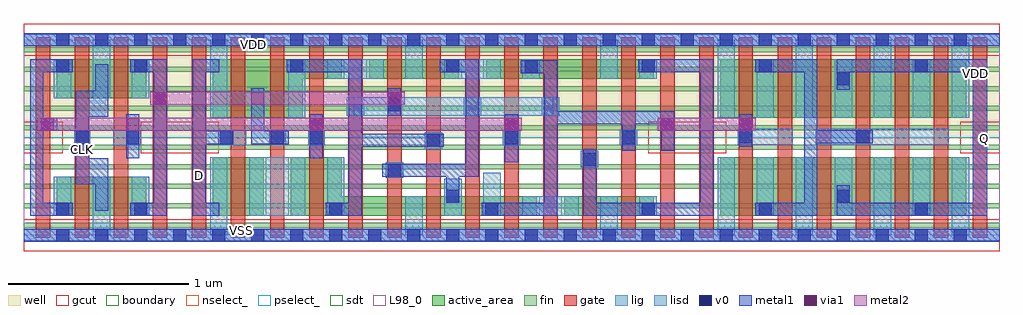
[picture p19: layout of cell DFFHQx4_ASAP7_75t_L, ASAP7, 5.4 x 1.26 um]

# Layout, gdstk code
import gdstk
lib = gdstk.Library(unit=1e-6, precision=2.5e-10)
def R(c, l, rs):  # rectangles x0, y0, x1, y1
    for r in rs: c.add(gdstk.rectangle(r[:2], r[2:], *l))
def A(c, l, x, y, w, h, nx, ny, dx, dy):  # array of equal rectangles
    R(c, l, [(x+i*dx, y+j*dy, x+i*dx+w, y+j*dy+h) for i in range(nx) for j in range(ny)])
def P(c, l, *ps):  # polygons
    for p in ps: c.add(gdstk.Polygon(p, *l))
well = (1, 0)
fin = (2, 0)
gate = (7, 0)
gcut = (10, 0)
active_area = (11, 0)
nselect_ = (12, 0)
pselect_ = (13, 0)
lig = (16, 0)
lisd = (17, 0)
v0 = (18, 0)
metal1 = (19, 0)
metal2 = (20, 0)
via1 = (21, 0)
sdt = (88, 0)
L98_0 = (98, 0)
boundary = (100, 0)

dffhqx4_asap7_75t_l = lib.new_cell('DFFHQx4_ASAP7_75t_L')
R(dffhqx4_asap7_75t_l, well, [(0,0.54,5.4,1.08)])
A(dffhqx4_asap7_75t_l, fin, 0, 0.04, 5.4, 0.028, 1, 10, 0, 0.108)
A(dffhqx4_asap7_75t_l, gate, 0.068, -0.014, 0.08, 1.108, 25, 1, 0.216, 0)
R(dffhqx4_asap7_75t_l, gcut, [(0,-0.088,5.4,0.088), (0,0.452,0.216,0.628), (0.648,0.452,1.08,0.628), (3.456,0.452,3.888,0.628), (5.184,0.452,5.4,0.628), (0,0.992,5.4,1.168)])
R(dffhqx4_asap7_75t_l, active_area, [(0.184,0.108,0.68,0.324), (1.048,0.108,1.328,0.432), (2.992,0.108,3.488,0.216), (3.856,0.108,5.216,0.432), (3.856,0.648,5.216,0.972), (0.184,0.756,0.68,0.972), (1.912,0.864,2.408,0.972), (2.56,0.864,3.488,0.972)])
P(dffhqx4_asap7_75t_l, active_area, [(1.76,0.972),(1.048,0.972),(1.048,0.648),(1.544,0.648),(1.544,0.864),(1.76,0.864)],
  [(2.84,0.216),(1.76,0.216),(1.76,0.432),(1.48,0.432),(1.48,0.108),(2.84,0.108)])
R(dffhqx4_asap7_75t_l, nselect_, [(0,0,5.4,0.54)])
R(dffhqx4_asap7_75t_l, pselect_, [(0,0.54,5.4,1.08)])
R(dffhqx4_asap7_75t_l, lig, [(0,-0.032,5.4,0.032), (2.004,0.316,2.1,0.404), (3.084,0.376,3.18,0.468), (2.22,0.476,2.316,0.568), (0.28,0.496,0.368,0.584), (0.496,0.496,0.648,0.584), (1.08,0.496,1.232,0.584), (1.36,0.496,1.452,0.584), (1.576,0.496,1.668,0.584), (2.652,0.496,2.748,0.584), (3.3,0.496,3.396,0.584), (3.952,0.5,4.256,0.588), (4.384,0.5,5.12,0.588), (1.788,0.66,1.884,0.764), (2.436,0.66,2.532,0.764), (2.868,0.66,2.964,0.764), (0,1.048,5.4,1.112)])
A(dffhqx4_asap7_75t_l, lisd, 3.84, 0, 0.096, 0.432, 4, 2, 0.432, 0.648)
A(dffhqx4_asap7_75t_l, lisd, 4.056, 0.108, 0.096, 0.324, 3, 2, 0.432, 0.54)
R(dffhqx4_asap7_75t_l, lisd, [(0.384,0,0.48,0.324), (1.032,0,1.128,0.432), (2.112,0,2.208,0.216), (3.192,0,3.288,0.216), (0.168,0.108,0.264,0.324), (0.6,0.108,0.696,0.324), (1.248,0.108,1.56,0.432), (1.68,0.108,1.776,0.432), (2.328,0.108,2.424,0.312), (2.544,0.108,2.64,0.344), (2.76,0.108,3.072,0.216), (3.408,0.108,3.504,0.216), (1.032,0.648,1.128,1.08), (1.464,0.648,1.56,0.972), (1.828,0.66,2.932,0.764), (0.168,0.756,0.264,0.972), (0.384,0.756,0.48,1.08), (0.6,0.756,0.696,0.972), (1.68,0.864,1.992,0.972), (2.112,0.864,2.208,1.08), (2.328,0.864,2.64,0.972), (2.76,0.864,2.856,0.972), (3.192,0.864,3.288,1.08), (3.408,0.864,3.504,0.972)])
A(dffhqx4_asap7_75t_l, v0, 0.18, -0.036, 0.072, 0.072, 24, 2, 0.216, 1.08)
A(dffhqx4_asap7_75t_l, v0, 1.692, 0.108, 0.072, 0.072, 3, 1, 0.864, 0)
A(dffhqx4_asap7_75t_l, v0, 0.612, 0.9, 0.072, 0.072, 3, 1, 0.864, 0)
R(dffhqx4_asap7_75t_l, v0, [(0.18,0.108,0.252,0.18), (0.612,0.108,0.684,0.18), (4.068,0.108,4.14,0.18), (4.932,0.108,5.004,0.18), (2.34,0.18,2.412,0.252), (4.5,0.18,4.572,0.252), (2.016,0.324,2.088,0.396), (3.096,0.384,3.168,0.456), (2.232,0.488,2.304,0.56), (0.288,0.504,0.36,0.576), (0.568,0.504,0.64,0.576), (1.088,0.504,1.16,0.576), (1.368,0.504,1.44,0.576), (1.584,0.504,1.656,0.576), (2.664,0.504,2.736,0.576), (3.312,0.504,3.384,0.576), (3.96,0.508,4.032,0.58), (4.608,0.508,4.68,0.58), (2.016,0.684,2.088,0.756), (4.5,0.828,4.572,0.9), (2.772,0.896,2.844,0.968), (0.18,0.9,0.252,0.972), (3.42,0.9,3.492,0.972), (4.068,0.9,4.14,0.972), (4.932,0.9,5.004,0.972)])
R(dffhqx4_asap7_75t_l, metal1, [(0,-0.036,5.4,0.036), (2.664,0.404,2.736,0.668), (0.568,0.424,0.64,0.668), (1.584,0.424,1.656,0.668), (3.96,0.488,4.032,0.668), (2.016,0.66,2.088,0.812), (0,1.044,5.4,1.116)])
P(dffhqx4_asap7_75t_l, metal1, [(0.272,0.18),(0.108,0.18),(0.108,0.576),(0.188,0.576),(0.188,0.648),(0.108,0.648),(0.108,0.9),(0.272,0.9),(0.272,0.972),(0.036,0.972),(0.036,0.108),(0.272,0.108)],
  [(0.468,0.424),(0.36,0.424),(0.36,0.656),(0.468,0.656),(0.468,0.944),(0.396,0.944),(0.396,0.8),(0.288,0.8),(0.288,0.28),(0.396,0.28),(0.396,0.136),(0.468,0.136)],
  [(0.792,0.972),(0.592,0.972),(0.592,0.9),(0.72,0.9),(0.72,0.18),(0.592,0.18),(0.592,0.108),(0.792,0.108)],
  [(1.16,0.576),(1.008,0.576),(1.008,0.9),(1.084,0.9),(1.084,0.972),(0.936,0.972),(0.936,0.108),(1.084,0.108),(1.084,0.18),(1.008,0.18),(1.008,0.504),(1.16,0.504)],
  [(1.468,0.576),(1.332,0.576),(1.332,0.812),(1.26,0.812),(1.26,0.504),(1.468,0.504)],
  [(2.324,0.56),(1.872,0.56),(1.872,0.972),(1.456,0.972),(1.456,0.9),(1.8,0.9),(1.8,0.18),(1.672,0.18),(1.672,0.108),(1.872,0.108),(1.872,0.488),(2.324,0.488)],
  [(2.52,0.972),(2.304,0.972),(2.304,0.9),(2.448,0.9),(2.448,0.396),(1.984,0.396),(1.984,0.324),(2.34,0.324),(2.34,0.18),(2.412,0.18),(2.412,0.324),(2.52,0.324)],
  [(3.6,0.684),(2.952,0.684),(2.952,0.968),(2.752,0.968),(2.752,0.896),(2.88,0.896),(2.88,0.18),(2.536,0.18),(2.536,0.108),(2.952,0.108),(2.952,0.612),(3.312,0.612),(3.312,0.468),(3.384,0.468),(3.384,0.612),(3.528,0.612),(3.528,0.468),(3.6,0.468)],
  [(3.816,0.972),(3.4,0.972),(3.4,0.9),(3.744,0.9),(3.744,0.18),(3.168,0.18),(3.168,0.476),(3.096,0.476),(3.096,0.108),(3.816,0.108)],
  [(4.7,0.58),(4.392,0.58),(4.392,0.972),(4.048,0.972),(4.048,0.9),(4.32,0.9),(4.32,0.18),(4.048,0.18),(4.048,0.108),(4.392,0.108),(4.392,0.508),(4.7,0.508)],
  [(5.332,0.972),(4.5,0.972),(4.5,0.804),(4.572,0.804),(4.572,0.9),(5.252,0.9),(5.252,0.18),(4.572,0.18),(4.572,0.276),(4.5,0.276),(4.5,0.108),(5.332,0.108)])
R(dffhqx4_asap7_75t_l, metal2, [(0.076,0.576,2.756,0.648), (3.508,0.576,4.052,0.648), (0.7,0.72,2.108,0.792)])
R(dffhqx4_asap7_75t_l, via1, [(0.096,0.576,0.168,0.648), (0.568,0.576,0.64,0.648), (1.584,0.576,1.656,0.648), (2.664,0.576,2.736,0.648), (3.528,0.576,3.6,0.648), (3.96,0.576,4.032,0.648), (0.72,0.72,0.792,0.792), (1.26,0.72,1.332,0.792), (2.016,0.72,2.088,0.792)])
A(dffhqx4_asap7_75t_l, sdt, 0.168, 0.108, 0.096, 0.216, 3, 2, 0.216, 0.648)
A(dffhqx4_asap7_75t_l, sdt, 1.032, 0.108, 0.096, 0.324, 4, 1, 0.216, 0)
A(dffhqx4_asap7_75t_l, sdt, 2.112, 0.108, 0.096, 0.108, 7, 1, 0.216, 0)
A(dffhqx4_asap7_75t_l, sdt, 3.84, 0.108, 0.096, 0.324, 7, 2, 0.216, 0.54)
A(dffhqx4_asap7_75t_l, sdt, 1.68, 0.864, 0.096, 0.108, 6, 1, 0.216, 0)
R(dffhqx4_asap7_75t_l, sdt, [(1.032,0.648,1.128,0.972), (1.464,0.648,1.56,0.972), (3.192,0.864,3.288,0.972), (3.408,0.864,3.504,0.972)])
R(dffhqx4_asap7_75t_l, L98_0, [(0,0,5.4,1.08)])
R(dffhqx4_asap7_75t_l, boundary, [(0,0,5.4,1.08)])
dffhqx4_asap7_75t_l.add(gdstk.Label('VDD', (5.268,0.896), layer=1, texttype=251))
dffhqx4_asap7_75t_l.add(gdstk.Label('Q', (5.316,0.536), layer=19, texttype=251))
dffhqx4_asap7_75t_l.add(gdstk.Label('VDD', (1.272,1.056), layer=19, texttype=251))
dffhqx4_asap7_75t_l.add(gdstk.Label('D', (0.976,0.328), layer=19, texttype=251))
dffhqx4_asap7_75t_l.add(gdstk.Label('CLK', (0.328,0.476), layer=19, texttype=251))
dffhqx4_asap7_75t_l.add(gdstk.Label('VSS', (1.208,0.028), layer=19, texttype=251))
dffhqx4_asap7_75t_l.add(gdstk.Label('VSS', (5.544,0.892), layer=3, texttype=251))

lib.write_gds('DFFHQx4_ASAP7_75t_L.gds')
